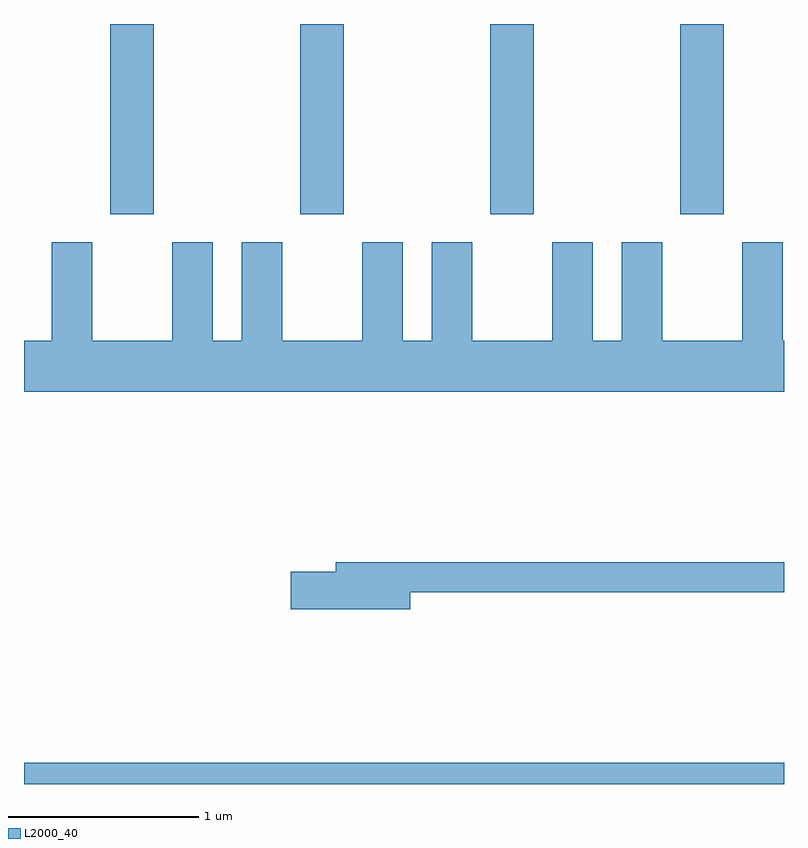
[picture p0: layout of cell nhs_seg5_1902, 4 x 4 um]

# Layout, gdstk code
import gdstk
lib = gdstk.Library(unit=1e-6, precision=1e-09)
def R(c, l, rs):  # rectangles x0, y0, x1, y1
    for r in rs: c.add(gdstk.rectangle(r[:2], r[2:], *l))
def A(c, l, x, y, w, h, nx, ny, dx, dy):  # array of equal rectangles
    R(c, l, [(x+i*dx, y+j*dy, x+i*dx+w, y+j*dy+h) for i in range(nx) for j in range(ny)])
def P(c, l, *ps):  # polygons
    for p in ps: c.add(gdstk.Polygon(p, *l))
L2000_40 = (2000, 40)

nhs_seg5_1902 = lib.new_cell('nhs_seg5_1902')
A(nhs_seg5_1902, L2000_40, 242.066, 1451.071, 0.228, 1.001, 4, 1, 1, 0)
R(nhs_seg5_1902, L2000_40, [(241.611,1448.072,245.611,1448.184)])
P(nhs_seg5_1902, L2000_40, [(245.611,1450.404),(245.604,1450.404),(245.604,1450.924),(245.391,1450.924),(245.391,1450.404),(244.969,1450.404),(244.969,1450.924),(244.756,1450.924),(244.756,1450.404),(244.604,1450.404),(244.604,1450.924),(244.391,1450.924),(244.391,1450.404),(243.969,1450.404),(243.969,1450.924),(243.756,1450.924),(243.756,1450.404),(243.604,1450.404),(243.604,1450.924),(243.391,1450.924),(243.391,1450.404),(242.969,1450.404),(242.969,1450.924),(242.756,1450.924),(242.756,1450.404),(242.604,1450.404),(242.604,1450.924),(242.391,1450.924),(242.391,1450.404),(241.969,1450.404),(241.969,1450.924),(241.756,1450.924),(241.756,1450.404),(241.611,1450.404),(241.611,1450.136),(245.611,1450.136)],
  [(243.644,1449.081),(245.611,1449.081),(245.611,1449.239),(243.251,1449.239),(243.251,1449.189),(243.016,1449.189),(243.016,1448.991),(243.644,1448.991)])

lib.write_gds('nhs_seg5_1902.gds')
